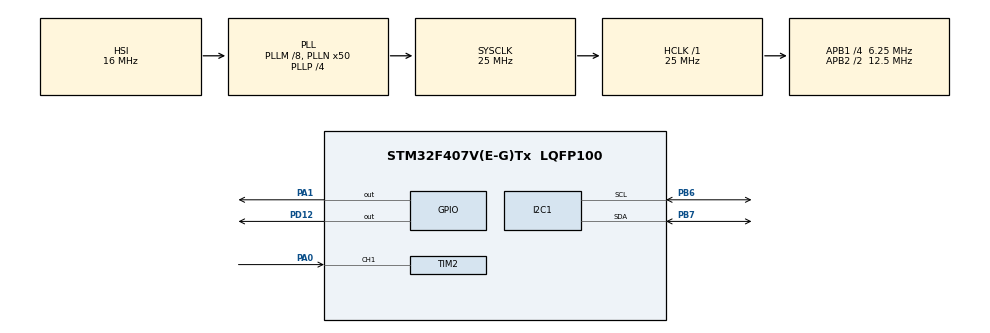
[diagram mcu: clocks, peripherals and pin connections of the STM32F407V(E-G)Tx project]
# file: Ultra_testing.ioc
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Mcu.Family=STM32F4
Mcu.Name=STM32F407V(E-G)Tx
Mcu.Package=LQFP100
NVIC.PriorityGroup=NVIC_PRIORITYGROUP_0
NVIC.TIM2_IRQn=true\:0\:0\:false\:false\:true\:true\:true\:true
PA0-WKUP.GPIO_PuPd=GPIO_PULLDOWN
PA0-WKUP.Signal=S_TIM2_CH1_ETR
PA1.Signal=GPIO_Output
PB6.Mode=I2C
PB6.Signal=I2C1_SCL
PB7.Mode=I2C
PB7.Signal=I2C1_SDA
PD12.Signal=GPIO_Output
ProjectManager.HeapSize=0x200
ProjectManager.StackSize=0x400
ProjectManager.TargetToolchain=STM32CubeIDE
RCC.48MHZClocksFreq_Value=14285714.285714285
RCC.AHBFreq_Value=25000000
RCC.APB1CLKDivider=RCC_HCLK_DIV4
RCC.APB1Freq_Value=6250000
RCC.APB1TimFreq_Value=12500000
RCC.APB2CLKDivider=RCC_HCLK_DIV2
RCC.APB2Freq_Value=12500000
RCC.APB2TimFreq_Value=25000000
RCC.CortexFreq_Value=25000000
RCC.HCLKFreq_Value=25000000
RCC.HSE_VALUE=8000000
RCC.HSI_VALUE=16000000
RCC.LSE_VALUE=32768
RCC.PLLM=8
RCC.PLLN=50
RCC.PLLP=RCC_PLLP_DIV4
RCC.PLLQ=7
RCC.SYSCLKFreq_VALUE=25000000
RCC.SYSCLKSource=RCC_SYSCLKSOURCE_PLLCLK
RCC.VCOOutputFreq_Value=100000000
SH.S_TIM2_CH1_ETR.0=TIM2_CH1,Input_Capture1_from_TI1
TIM2.Channel-Input_Capture1_from_TI1=TIM_CHANNEL_1
TIM2.Period=65535
TIM2.Prescaler=83
VP_TIM2_VS_ClockSourceINT.Mode=Internal
board=STM32F407G-DISC1

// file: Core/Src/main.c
/* USER CODE BEGIN Header */
/**
  ******************************************************************************
  * @file           : main.c
  * @brief          : Main program body
  ******************************************************************************
  * @attention
  *
  * Copyright (c) 2025 STMicroelectronics.
  * All rights reserved.
  *
  * This software is licensed under terms that can be found in the LICENSE file
  * in the root directory of this software component.
  * If no LICENSE file comes with this software, it is provided AS-IS.
  *
  ******************************************************************************
  */
/* USER CODE END Header */
#include "main.h"

/* USER CODE BEGIN Includes */
#include"i2c-lcd.h"
#include<stdio.h>

/* USER CODE END Includes */

I2C_HandleTypeDef hi2c1;

TIM_HandleTypeDef htim2;

void SystemClock_Config(void);
static void MX_GPIO_Init(void);
static void MX_I2C1_Init(void);
static void MX_TIM2_Init(void);

/* USER CODE BEGIN 0 */

extern TIM_HandleTypeDef htim2;
uint32_t ic_val1 = 0;
uint32_t ic_val2 = 0;
uint8_t is_first_capture = 0;
float distance_cm = 0;
char lcd_buffer[16];

void HAL_TIM_IC_CaptureCallback(TIM_HandleTypeDef *htim)
{
	HAL_GPIO_TogglePin(GPIOD, GPIO_PIN_12); // Toggle LED or debug pin
    if(htim->Channel == HAL_TIM_ACTIVE_CHANNEL_1)
    {
        if (is_first_capture == 0)
        {
            ic_val1 = HAL_TIM_ReadCapturedValue(htim, TIM_CHANNEL_1);
            __HAL_TIM_SET_CAPTUREPOLARITY(htim, TIM_CHANNEL_1, TIM_INPUTCHANNELPOLARITY_FALLING);
            is_first_capture = 1;
        }
        else
        {
            ic_val2 = HAL_TIM_ReadCapturedValue(htim, TIM_CHANNEL_1);
            __HAL_TIM_SET_CAPTUREPOLARITY(htim, TIM_CHANNEL_1, TIM_INPUTCHANNELPOLARITY_RISING);
            __HAL_TIM_DISABLE_IT(htim, TIM_IT_CC1);

            uint32_t diff;
            if(ic_val2 > ic_val1)
                diff = ic_val2 - ic_val1;
            else
                diff = (0xFFFF - ic_val1) + ic_val2;

            distance_cm = (diff * 0.034) / 2.0; // speed of sound = 0.034 cm/us
            is_first_capture = 0;
        }
    }
}

void trigger_ultrasonic(void)
{
    HAL_GPIO_WritePin(GPIOA, GPIO_PIN_1, GPIO_PIN_RESET);
    HAL_Delay(2);
    HAL_GPIO_WritePin(GPIOA, GPIO_PIN_1, GPIO_PIN_SET);
    HAL_Delay(0.01);  // 10 us
    HAL_GPIO_WritePin(GPIOA, GPIO_PIN_1, GPIO_PIN_RESET);
}

/* USER CODE END 0 */

int main(void)
{

  /* USER CODE BEGIN 1 */
	// char buffer[16];

  /* USER CODE END 1 */

  /* MCU Configuration--------------------------------------------------------*/

  /* Reset of all peripherals, Initializes the Flash interface and the Systick. */
  HAL_Init();

  /* Configure the system clock */
  SystemClock_Config();

  /* Initialize all configured peripherals */
  MX_GPIO_Init();
  MX_I2C1_Init();
  MX_TIM2_Init();
  /* USER CODE BEGIN 2 */
  lcd_init();
     lcd_clear();
     lcd_put_cur(0, 0);
     lcd_send_string("Hello Piyush!");
     HAL_Delay(1000);
  /* USER CODE END 2 */

  /* Infinite loop */
  while (1)
  {

    /* USER CODE BEGIN 3 */
	  trigger_ultrasonic();
	          HAL_TIM_IC_Start_IT(&htim2, TIM_CHANNEL_1); // restart capture
	          HAL_Delay(100); // wait for measurement

	          lcd_clear();
	          lcd_put_cur(0, 0);
	          sprintf(lcd_buffer, "Dist: %.2f cm", distance_cm);
	          lcd_send_string(lcd_buffer);
	          HAL_Delay(500);
	      }
  /* USER CODE END 3 */
}

void SystemClock_Config(void)
{
  RCC_OscInitTypeDef RCC_OscInitStruct = {0};
  RCC_ClkInitTypeDef RCC_ClkInitStruct = {0};

  /** Configure the main internal regulator output voltage
  */
  __HAL_RCC_PWR_CLK_ENABLE();
  __HAL_PWR_VOLTAGESCALING_CONFIG(PWR_REGULATOR_VOLTAGE_SCALE1);

  /** Initializes the RCC Oscillators according to the specified parameters
  * in the RCC_OscInitTypeDef structure.
  */
  RCC_OscInitStruct.OscillatorType = RCC_OSCILLATORTYPE_HSI;
  RCC_OscInitStruct.HSIState = RCC_HSI_ON;
  RCC_OscInitStruct.HSICalibrationValue = RCC_HSICALIBRATION_DEFAULT;
  RCC_OscInitStruct.PLL.PLLState = RCC_PLL_ON;
  RCC_OscInitStruct.PLL.PLLSource = RCC_PLLSOURCE_HSI;
  RCC_OscInitStruct.PLL.PLLM = 8;
  RCC_OscInitStruct.PLL.PLLN = 50;
  RCC_OscInitStruct.PLL.PLLP = RCC_PLLP_DIV4;
  RCC_OscInitStruct.PLL.PLLQ = 7;
  if (HAL_RCC_OscConfig(&RCC_OscInitStruct) != HAL_OK)
  {
    Error_Handler();
  }

  /** Initializes the CPU, AHB and APB buses clocks
  */
  RCC_ClkInitStruct.ClockType = RCC_CLOCKTYPE_HCLK|RCC_CLOCKTYPE_SYSCLK
                              |RCC_CLOCKTYPE_PCLK1|RCC_CLOCKTYPE_PCLK2;
  RCC_ClkInitStruct.SYSCLKSource = RCC_SYSCLKSOURCE_PLLCLK;
  RCC_ClkInitStruct.AHBCLKDivider = RCC_SYSCLK_DIV1;
  RCC_ClkInitStruct.APB1CLKDivider = RCC_HCLK_DIV4;
  RCC_ClkInitStruct.APB2CLKDivider = RCC_HCLK_DIV2;

  if (HAL_RCC_ClockConfig(&RCC_ClkInitStruct, FLASH_LATENCY_0) != HAL_OK)
  {
    Error_Handler();
  }
}

static void MX_I2C1_Init(void)
{

  hi2c1.Instance = I2C1;
  hi2c1.Init.ClockSpeed = 100000;
  hi2c1.Init.DutyCycle = I2C_DUTYCYCLE_2;
  hi2c1.Init.OwnAddress1 = 0;
  hi2c1.Init.AddressingMode = I2C_ADDRESSINGMODE_7BIT;
  hi2c1.Init.DualAddressMode = I2C_DUALADDRESS_DISABLE;
  hi2c1.Init.OwnAddress2 = 0;
  hi2c1.Init.GeneralCallMode = I2C_GENERALCALL_DISABLE;
  hi2c1.Init.NoStretchMode = I2C_NOSTRETCH_DISABLE;
  if (HAL_I2C_Init(&hi2c1) != HAL_OK)
  {
    Error_Handler();
  }

}

static void MX_TIM2_Init(void)
{

  TIM_ClockConfigTypeDef sClockSourceConfig = {0};
  TIM_MasterConfigTypeDef sMasterConfig = {0};
  TIM_IC_InitTypeDef sConfigIC = {0};

  htim2.Instance = TIM2;
  htim2.Init.Prescaler = 83;
  htim2.Init.CounterMode = TIM_COUNTERMODE_UP;
  htim2.Init.Period = 65535;
  htim2.Init.ClockDivision = TIM_CLOCKDIVISION_DIV1;
  htim2.Init.AutoReloadPreload = TIM_AUTORELOAD_PRELOAD_DISABLE;
  if (HAL_TIM_Base_Init(&htim2) != HAL_OK)
  {
    Error_Handler();
  }
  sClockSourceConfig.ClockSource = TIM_CLOCKSOURCE_INTERNAL;
  if (HAL_TIM_ConfigClockSource(&htim2, &sClockSourceConfig) != HAL_OK)
  {
    Error_Handler();
  }
  if (HAL_TIM_IC_Init(&htim2) != HAL_OK)
  {
    Error_Handler();
  }
  sMasterConfig.MasterOutputTrigger = TIM_TRGO_RESET;
  sMasterConfig.MasterSlaveMode = TIM_MASTERSLAVEMODE_DISABLE;
  if (HAL_TIMEx_MasterConfigSynchronization(&htim2, &sMasterConfig) != HAL_OK)
  {
    Error_Handler();
  }
  sConfigIC.ICPolarity = TIM_INPUTCHANNELPOLARITY_RISING;
  sConfigIC.ICSelection = TIM_ICSELECTION_DIRECTTI;
  sConfigIC.ICPrescaler = TIM_ICPSC_DIV1;
  sConfigIC.ICFilter = 0;
  if (HAL_TIM_IC_ConfigChannel(&htim2, &sConfigIC, TIM_CHANNEL_1) != HAL_OK)
  {
    Error_Handler();
  }

}

static void MX_GPIO_Init(void)
{
  GPIO_InitTypeDef GPIO_InitStruct = {0};

  /* GPIO Ports Clock Enable */
  __HAL_RCC_GPIOA_CLK_ENABLE();
  __HAL_RCC_GPIOD_CLK_ENABLE();
  __HAL_RCC_GPIOB_CLK_ENABLE();

  /*Configure GPIO pin Output Level */
  HAL_GPIO_WritePin(GPIOA, GPIO_PIN_1, GPIO_PIN_RESET);

  /*Configure GPIO pin Output Level */
  HAL_GPIO_WritePin(GPIOD, GPIO_PIN_12, GPIO_PIN_RESET);

  /*Configure GPIO pin : PA1 */
  GPIO_InitStruct.Pin = GPIO_PIN_1;
  GPIO_InitStruct.Mode = GPIO_MODE_OUTPUT_PP;
  GPIO_InitStruct.Pull = GPIO_NOPULL;
  GPIO_InitStruct.Speed = GPIO_SPEED_FREQ_LOW;
  HAL_GPIO_Init(GPIOA, &GPIO_InitStruct);

  /*Configure GPIO pin : PD12 */
  GPIO_InitStruct.Pin = GPIO_PIN_12;
  GPIO_InitStruct.Mode = GPIO_MODE_OUTPUT_PP;
  GPIO_InitStruct.Pull = GPIO_NOPULL;
  GPIO_InitStruct.Speed = GPIO_SPEED_FREQ_LOW;
  HAL_GPIO_Init(GPIOD, &GPIO_InitStruct);

}

void Error_Handler(void)
{
  __disable_irq();
  while (1)
  {
  }
}
